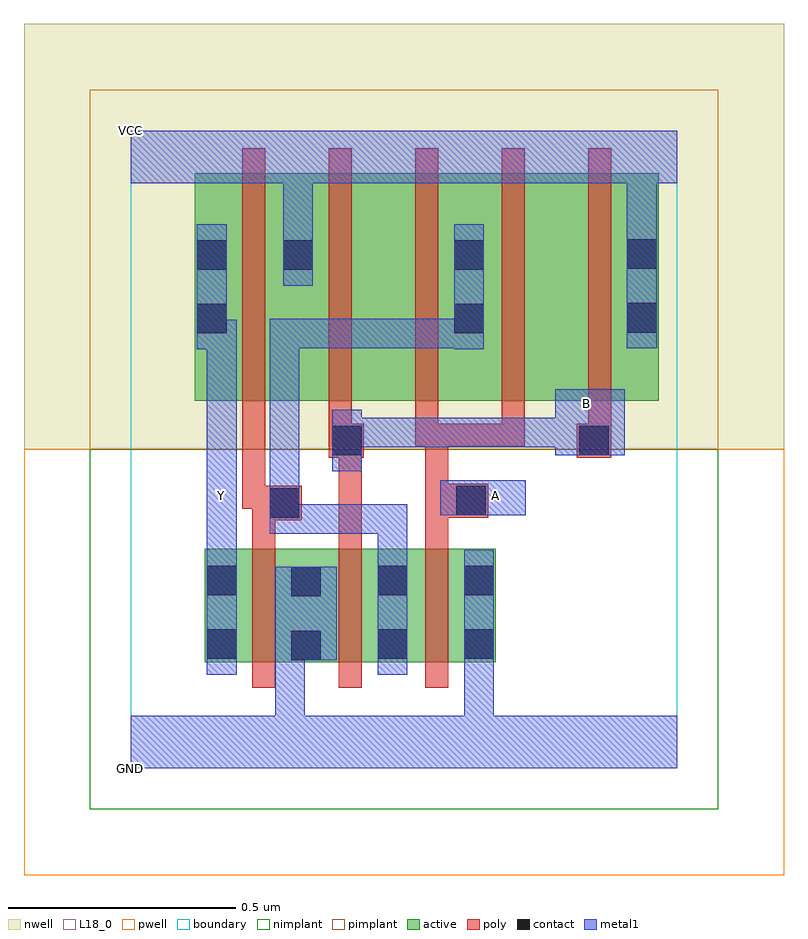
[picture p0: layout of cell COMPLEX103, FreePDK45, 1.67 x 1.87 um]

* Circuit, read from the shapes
.subckt COMPLEX103 A B GND VCC Y
M1 GND n1 Y VSUBS nfet w=0.25u l=0.05u
M2 n1 B GND VSUBS nfet w=0.25u l=0.05u
M3 GND A n1 VSUBS nfet w=0.25u l=0.05u
M4 VCC n1 Y n2 pfet w=0.5u l=0.05u
M5 n3 B VCC n2 pfet w=0.5u l=0.05u
M6 n1 A n3 n2 pfet w=0.5u l=0.05u
M7 n4 A n1 n2 pfet w=0.5u l=0.05u
M8 VCC B n4 n2 pfet w=0.5u l=0.05u
.ends

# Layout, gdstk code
import gdstk
lib = gdstk.Library(unit=1e-6, precision=1e-09)
def R(c, l, rs):  # rectangles x0, y0, x1, y1
    for r in rs: c.add(gdstk.rectangle(r[:2], r[2:], *l))
def A(c, l, x, y, w, h, nx, ny, dx, dy):  # array of equal rectangles
    R(c, l, [(x+i*dx, y+j*dy, x+i*dx+w, y+j*dy+h) for i in range(nx) for j in range(ny)])
active = (1, 0)
pwell = (2, 0)
nwell = (3, 0)
nimplant = (4, 0)
pimplant = (5, 0)
poly = (9, 0)
contact = (10, 0)
metal1 = (11, 0)
L18_0 = (18, 0)
boundary = (235, 0)

complex103 = lib.new_cell('COMPLEX103')
R(complex103, active, [(0.162,0.232,0.237,0.482), (0.162,0.232,0.422,0.482), (0.347,0.232,0.612,0.482), (0.347,0.232,0.422,0.447), (0.537,0.232,0.612,0.482), (0.537,0.232,0.802,0.482), (0.727,0.232,0.802,0.482), (0.14,0.807,0.215,1.2), (0.14,0.807,0.405,1.307), (0.33,0.807,0.405,1.255), (0.33,0.807,0.555,1.307), (0.555,0.807,0.78,1.307), (0.705,0.807,0.935,1.307), (0.705,0.807,0.78,1.2), (0.935,0.807,1.16,1.307), (1.085,0.807,1.16,1.255)])
R(complex103, pwell, [(-0.235,-0.235,1.435,0.7)])
R(complex103, nwell, [(-0.235,0.7,1.435,1.635)])
R(complex103, nimplant, [(-0.09,-0.09,1.29,0.7)])
R(complex103, pimplant, [(-0.09,0.7,1.29,1.49)])
A(complex103, poly, 0.267, 0.177, 0.05, 0.36, 3, 1, 0.19, 0)
A(complex103, poly, 0.435, 0.707, 0.05, 0.095, 4, 1, 0.19, 0)
A(complex103, poly, 0.245, 0.752, 0.05, 0.61, 5, 1, 0.19, 0)
R(complex103, poly, [(0.267,0.487,0.317,0.595), (0.457,0.487,0.507,0.732), (0.647,0.487,0.697,0.6), (0.267,0.545,0.375,0.62), (0.647,0.55,0.785,0.625), (0.245,0.57,0.317,0.62), (0.245,0.57,0.295,0.802), (0.267,0.57,0.317,0.62), (0.647,0.575,0.697,0.757), (0.435,0.682,0.512,0.757), (0.457,0.682,0.507,0.732), (0.457,0.682,0.507,0.732), (0.98,0.682,1.055,0.757), (0.625,0.707,0.697,0.757), (0.647,0.707,0.865,0.757), (0.647,0.707,0.697,0.757), (0.647,0.707,0.697,0.757), (0.815,0.707,0.865,0.757)])
R(complex103, contact, [(0.352,0.237,0.417,0.302), (0.167,0.24,0.232,0.305), (0.542,0.24,0.607,0.305), (0.732,0.24,0.797,0.305), (0.352,0.377,0.417,0.442), (0.167,0.38,0.232,0.445), (0.542,0.38,0.607,0.445), (0.732,0.38,0.797,0.445), (0.305,0.55,0.37,0.615), (0.715,0.555,0.78,0.62), (0.442,0.687,0.507,0.752), (0.985,0.687,1.05,0.752), (0.145,0.955,0.21,1.02), (0.71,0.955,0.775,1.02), (1.09,0.957,1.155,1.022), (0.145,1.095,0.21,1.16), (0.335,1.095,0.4,1.16), (0.71,1.095,0.775,1.16), (1.09,1.097,1.155,1.162)])
R(complex103, metal1, [(0,0,1.2,0.115), (0.317,0.05,0.382,0.302), (0.732,0.05,0.797,0.115), (0.732,0.05,0.797,0.115), (0.732,0.05,0.797,0.115), (0.732,0.05,0.797,0.115), (0.732,0.05,0.797,0.27), (0.167,0.205,0.232,0.48), (0.542,0.205,0.607,0.48), (0.732,0.205,0.797,0.48), (0.317,0.237,0.382,0.302), (0.317,0.237,0.382,0.302), (0.317,0.237,0.382,0.302), (0.317,0.237,0.382,0.302), (0.317,0.237,0.452,0.442), (0.167,0.415,0.232,0.597), (0.542,0.415,0.607,0.58), (0.305,0.515,0.37,0.58), (0.305,0.515,0.37,0.58), (0.305,0.515,0.37,0.58), (0.305,0.515,0.37,0.58), (0.305,0.515,0.507,0.58), (0.305,0.515,0.37,0.65), (0.305,0.515,0.37,0.987), (0.442,0.515,0.507,0.58), (0.442,0.515,0.607,0.58), (0.542,0.515,0.607,0.58), (0.167,0.532,0.232,0.667), (0.68,0.555,0.867,0.632), (0.167,0.602,0.232,0.985), (0.442,0.652,0.507,0.787), (0.932,0.687,1.085,0.832), (0.442,0.705,0.507,0.77), (0.442,0.705,0.507,0.77), (0.442,0.705,0.722,0.77), (0.657,0.705,0.722,0.77), (0.657,0.705,0.86,0.77), (0.795,0.705,0.86,0.77), (0.795,0.705,0.86,0.77), (0.795,0.705,0.86,0.77), (0.795,0.705,0.997,0.77), (0.932,0.705,0.997,0.77), (0.932,0.705,0.997,0.77), (0.145,0.92,0.21,1.195), (0.145,0.92,0.21,0.985), (0.145,0.92,0.232,0.985), (0.71,0.92,0.775,1.195), (0.305,0.922,0.37,0.987), (0.305,0.922,0.585,0.987), (0.52,0.922,0.585,0.987), (0.52,0.922,0.585,0.987), (0.52,0.922,0.585,0.987), (0.52,0.922,0.722,0.987), (0.657,0.922,0.722,0.987), (0.657,0.922,0.775,0.987), (1.09,0.922,1.155,1.197), (0.335,1.06,0.4,1.195), (0.335,1.13,0.4,1.35), (1.09,1.132,1.155,1.35), (0,1.285,1.2,1.4)])
R(complex103, L18_0, [(0,0,1.2,0.115), (0.317,0.05,0.382,0.302), (0.732,0.05,0.797,0.115), (0.732,0.05,0.797,0.115), (0.732,0.05,0.797,0.115), (0.732,0.05,0.797,0.115), (0.732,0.05,0.797,0.27), (0.167,0.205,0.232,0.48), (0.732,0.205,0.797,0.48), (0.317,0.237,0.382,0.302), (0.317,0.237,0.382,0.302), (0.317,0.237,0.382,0.302), (0.317,0.237,0.382,0.302), (0.317,0.237,0.452,0.442), (0.167,0.415,0.232,0.597), (0.167,0.532,0.232,0.667), (0.68,0.555,0.867,0.632), (0.167,0.567,0.232,0.632), (0.767,0.567,0.832,0.632), (0.167,0.602,0.232,0.985), (0.442,0.652,0.507,0.787), (0.932,0.687,1.085,0.832), (0.442,0.705,0.507,0.77), (0.442,0.705,0.507,0.77), (0.442,0.705,0.722,0.77), (0.657,0.705,0.722,0.77), (0.657,0.705,0.86,0.77), (0.795,0.705,0.86,0.77), (0.795,0.705,0.86,0.77), (0.795,0.705,0.86,0.77), (0.795,0.705,0.997,0.77), (0.932,0.705,0.997,0.77), (0.932,0.705,0.997,0.77), (0.967,0.767,1.032,0.832), (0.145,0.92,0.21,1.195), (0.145,0.92,0.232,0.985), (0.145,0.92,0.21,0.985), (1.09,0.922,1.155,1.197), (0.335,1.06,0.4,1.195), (0.335,1.13,0.4,1.35), (1.09,1.132,1.155,1.35), (0,1.285,1.2,1.4)])
R(complex103, boundary, [(0,0,1.2,1.4)])
complex103.add(gdstk.Label('A', (0.8,0.6), layer=11, texttype=0))
complex103.add(gdstk.Label('B', (1,0.8), layer=11, texttype=0))
complex103.add(gdstk.Label('Y', (0.2,0.6), layer=11, texttype=0))
complex103.add(gdstk.Label('VCC', (0,1.4), layer=11, texttype=0))
complex103.add(gdstk.Label('GND', (0,0), layer=11, texttype=0))

lib.write_gds('COMPLEX103.gds')
